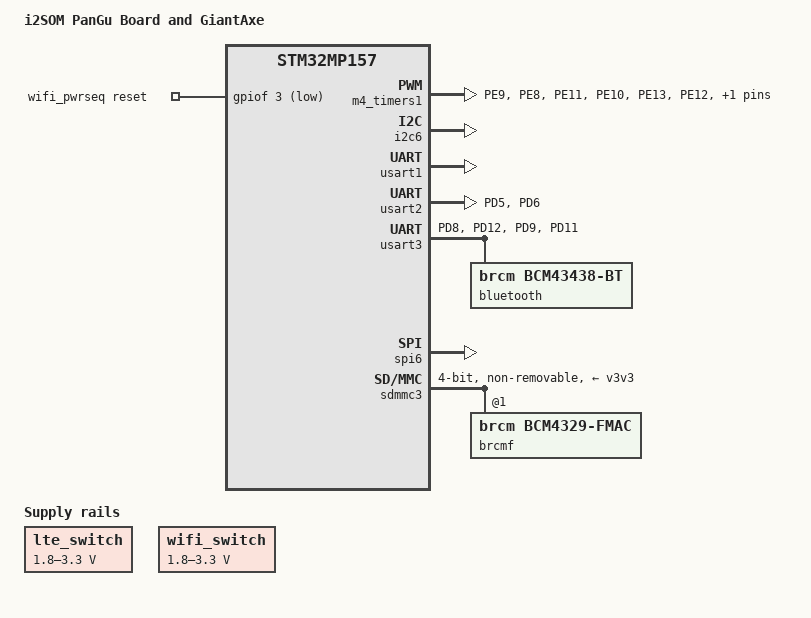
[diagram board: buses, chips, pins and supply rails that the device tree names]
// SPDX-License-Identifier: (GPL-2.0+ OR BSD-3-Clause)
/*
 * Copyright (C) STMicroelectronics 2018 - All Rights Reserved
 * Author: Alexandre Torgue <alexandre.torgue@st.com>.
 */

/ {
	model = "i2SOM PanGu Board and GiantAxe";
	compatible = "i2som,panguboard", "st,stm32mp157";

	aliases {
		serial0 = &uart4;
		serial3 = &usart1;
		serial1 = &usart2;
		serial2 = &usart3;
		serial4 = &uart5;
	};

	lte_switch: regulator-lte-power {
		compatible = "regulator-gpio";
		regulator-name = "lte_switch";
		regulator-min-microvolt = <1800000>;
		regulator-max-microvolt = <3300000>;
		regulator-type = "voltage";
		regulator-always-on;

		gpios = <&gpioe 1 GPIO_ACTIVE_HIGH>;
		gpios-states = <1>;
		states = <1800000 0x0 3300000 0x1>;
	};

	wifi_switch: regulator-wifi-power {
		compatible = "regulator-gpio";
		regulator-name = "wifi_switch";
		regulator-min-microvolt = <1800000>;
		regulator-max-microvolt = <3300000>;
		regulator-type = "voltage";
		regulator-always-on;

		gpios = <&gpiof 12 GPIO_ACTIVE_LOW>;
		gpios-states = <0>;
		states = <1800000 0x1 3300000 0x0>;
	};

	wifi_pwrseq: wifi-pwrseq {
		compatible = "mmc-pwrseq-simple";
		reset-gpios = <&gpiof 3 GPIO_ACTIVE_LOW>;
	};

};

&pinctrl {

	usart3_pins_c: usart3-2 {
		pins1 {
			pinmux = <STM32_PINMUX('D', 8, AF7)>, /* USART3_TX */
				 <STM32_PINMUX('D', 12, AF7)>; /* USART3_RTS */
			bias-disable;
			drive-push-pull;
			slew-rate = <0>;
		};
		pins2 {
			pinmux = <STM32_PINMUX('D', 9, AF7)>, /* USART3_RX */
				 <STM32_PINMUX('D', 11, AF7)>; /* USART3_CTS_NSS */
			bias-disable;
		};
	};

	usart3_idle_pins_c: usart3-idle-2 {
		pins1 {
			pinmux = <STM32_PINMUX('D', 8, ANALOG)>, /* USART3_TX */
				 <STM32_PINMUX('D', 12, ANALOG)>, /* USART3_RTS */
				 <STM32_PINMUX('D', 11, ANALOG)>; /* USART3_CTS_NSS */
		};
		pins2 {
			pinmux = <STM32_PINMUX('D', 9, AF7)>; /* USART3_RX */
			bias-disable;
		};
	};

	usart3_sleep_pins_c: usart3-sleep-2 {
		pins {
			pinmux = <STM32_PINMUX('D', 8, ANALOG)>, /* USART3_TX */
				 <STM32_PINMUX('D', 12, ANALOG)>, /* USART3_RTS */
				 <STM32_PINMUX('D', 11, ANALOG)>, /* USART3_CTS_NSS */
				 <STM32_PINMUX('D', 9, ANALOG)>; /* USART3_RX */
		};
	};

	bt_reg: bt_reg_on-1 {
		pins {
			pinmux = <STM32_PINMUX('D', 14, GPIO)>;
			drive-push-pull;
			bias-pull-up;
			output-high;
			slew-rate = <0>;
		};
	};

	usart2_pins_b: usart2-b-0 {
		pins1 {
			pinmux = <STM32_PINMUX('D', 5, AF7)>; /* USART2_TX */
			bias-disable;
			drive-push-pull;
			slew-rate = <0>;
		};
		pins2 {
			pinmux = <STM32_PINMUX('D', 6, AF7)>; /* USART2_RX */
			bias-disable;
		};
	};

	usart2_idle_pins_b: usart2-idle-b-0 {
		pins1 {
			pinmux = <STM32_PINMUX('D', 5, ANALOG)>; /* USART2_TX */
		};
		pins2 {
			pinmux = <STM32_PINMUX('D', 6, AF7)>; /* USART2_RX */
			bias-disable;
		};
	};

	usart2_sleep_pins_b: usart2-sleep-b-0 {
		pins {
			pinmux = <STM32_PINMUX('D', 5, ANALOG)>, /* USART2_TX */
				 <STM32_PINMUX('D', 6, ANALOG)>; /* USART2_RX */
		};
	};

	timer1_pins: pwm1-test-0 {
		pins {
			pinmux = <STM32_PINMUX('E', 9, AF1)>, /* TIM1_CH1 */
				 <STM32_PINMUX('E', 8, AF1)>, /* TIM1_CH1N */
				 <STM32_PINMUX('E', 11, AF1)>, /* TIM1_CH2 */
				 <STM32_PINMUX('E', 10, AF1)>, /* TIM1_CH2N */
				 <STM32_PINMUX('E', 13, AF1)>, /* TIM1_CH3 */
				 <STM32_PINMUX('E', 12, AF1)>, /* TIM1_CH3N */
				 <STM32_PINMUX('E', 14, AF1)>; /* TIM1_CH4 */
			bias-pull-down;
			drive-push-pull;
			slew-rate = <0>;
		};
	};
};

&pinctrl_z {
	usart1_pins_a: usart1-0 {
		pins1 {
			pinmux = <STM32_PINMUX('Z', 7, AF7)>; /* USART1_TX */
			bias-disable;
			drive-push-pull;
			slew-rate = <0>;
		};
		pins2 {
			pinmux = <STM32_PINMUX('Z', 6, AF7)>; /* USART1_RX */
			bias-disable;
		};
	};

	usart1_idle_pins_a: usart1-idle-0 {
		pins1 {
			pinmux = <STM32_PINMUX('Z', 7, ANALOG)>; /* USART1_TX */
		};
		pins2 {
			pinmux = <STM32_PINMUX('Z', 6, AF7)>; /* USART1_RX */
			bias-disable;
		};
	};

	usart1_sleep_pins_a: usart1-sleep-0 {
		pins {
			pinmux = <STM32_PINMUX('Z', 7, ANALOG)>, /* USART1_TX */
				 <STM32_PINMUX('Z', 6, ANALOG)>; /* USART1_RX */
		};
	};

	i2c6_pins_a: i2c6-0 {
		pins {
			pinmux = <STM32_PINMUX('Z', 4, AF2)>, /* I2C6_SCL */
				 <STM32_PINMUX('Z', 5, AF2)>; /* I2C6_SDA */
			bias-disable;
			drive-open-drain;
			slew-rate = <0>;
		};
	};

	i2c6_pins_sleep_a: i2c6-1 {
		pins {
			pinmux = <STM32_PINMUX('Z', 4, ANALOG)>, /* I2C6_SCL */
				 <STM32_PINMUX('Z', 5, ANALOG)>; /* I2C6_SDA */
		};
	};

	spi6_pins_a: spi6-0 {
		pins1 {
			pinmux = <STM32_PINMUX('Z', 0, AF8)>, /* SPI4_SCK */
				 <STM32_PINMUX('Z', 2, AF8)>; /* SPI4_MOSI */
				 bias-disable;
				 drive-push-pull;
				 slew-rate = <1>;
		};

		pins2 {
			pinmux = <STM32_PINMUX('Z', 1, AF8)>; /* SPI4_MISO */
		        bias-disable;
		};
	};

	spi6_sleep_pins_a: spi6-sleep-0 {
		pins {
			pinmux = <STM32_PINMUX('Z', 0, ANALOG)>, /* SPI4_SCK */
				 <STM32_PINMUX('Z', 1, ANALOG)>, /* SPI4_MISO */
				 <STM32_PINMUX('Z', 2, ANALOG)>; /* SPI4_MOSI */
		};
	};
};

&timers1 {
	status = "disabled";
};

&m4_timers1 {
	pinctrl-names = "rproc_default";
	pinctrl-0 = <&timer1_pins>;
	status = "okay";
};

&i2c6 {
	pinctrl-names = "default", "sleep";
	pinctrl-0 = <&i2c6_pins_a>;
	pinctrl-1 = <&i2c6_pins_sleep_a>;
	i2c-scl-rising-time-ns = <100>;
	i2c-scl-falling-time-ns = <7>;
	status = "okay";
	/delete-property/dmas;
	/delete-property/dma-names;

};

&usart1 {
	pinctrl-names = "default", "sleep", "idle";
	pinctrl-0 = <&usart1_pins_a>;
	pinctrl-1 = <&usart1_sleep_pins_a>;
	pinctrl-2 = <&usart1_idle_pins_a>;
	status = "okay";
};

&usart2 {
	pinctrl-names = "default", "sleep", "idle";
	pinctrl-0 = <&usart2_pins_b>;
	pinctrl-1 = <&usart2_sleep_pins_b>;
	pinctrl-2 = <&usart2_idle_pins_b>;
	status = "okay";
};

&usart3 {
	pinctrl-names = "default", "sleep", "idle";
	pinctrl-0 = <&usart3_pins_c>;
	pinctrl-1 = <&usart3_sleep_pins_c>;
	pinctrl-2 = <&usart3_idle_pins_c>;
	st,hw-flow-ctrl;
	status = "okay";

	bluetooth {
		pinctrl-names = "default";
		pinctrl-0 = <&bt_reg>;
		compatible = "brcm,bcm43438-bt";
		max-speed = <3000000>;
	};

};

&uart5 {
	rs485de-gpios = <&gpiog 9 1>;
};

&spi6 {
	pinctrl-names = "default", "sleep";
	pinctrl-0 = <&spi6_pins_a>;
	pinctrl-1 = <&spi6_sleep_pins_a>;
	cs-gpios = <&gpioz 3 0>;
	status = "okay";
};

/* WiFi module */
&sdmmc3 {
	arm,primecell-periphid = <0x10153180>;
	pinctrl-names = "default", "opendrain", "sleep";
	pinctrl-0 = <&sdmmc3_b4_pins_a>;
	pinctrl-1 = <&sdmmc3_b4_od_pins_a>;
	pinctrl-2 = <&sdmmc3_b4_sleep_pins_a>;
	vmmc-supply = <&v3v3>;
	mmc-pwrseq = <&wifi_pwrseq>;
	non-removable;
	st,neg-edge;
	#address-cells = <1>;
	#size-cells = <0>;
	keep-power-in-suspend;
	bus-width = <4>;
	no-1-8-v;
	status = "okay";

	brcmf: bcrmf@1 {
		reg = <1>;
		compatible = "brcm,bcm4329-fmac";
	};
};
